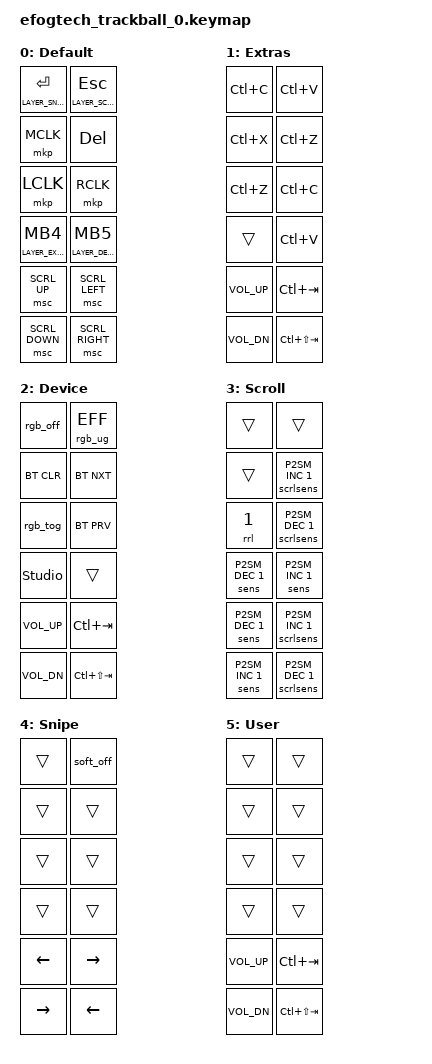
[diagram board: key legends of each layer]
#include <behaviors.dtsi>
#include <dt-bindings/zmk/bt.h>
#include <dt-bindings/zmk/keys.h>
#include <dt-bindings/zmk/pointing.h>
#include <dt-bindings/zmk/outputs.h>
#include <dt-bindings/zmk/p2sm.h>
#include <dt-bindings/zmk/rgb.h>
#include <dt-bindings/zmk/ext_power.h>

#define LAYER_DEFAULT      0
#define LAYER_EXTRAS       1
#define LAYER_DEVICE       2
#define LAYER_SCROLL       3
#define LAYER_SNIPE        4
#define LAYER_USER         5

#define TWIST_MULTIPLIER   1
#define TWIST_DIVISOR      1

#define SCROLL_MULTIPLIER  1
#define SCROLL_DIVISOR     3

#define SNIPE_MULTIPLIER   1
#define SNIPE_DIVISOR      4

/ {
	keymap {
		compatible = "zmk,keymap";

		default_layer {
			display-name = "Default";
			DECLARE_ENCODERS;
			bindings = <
				// buttons
				&ltmkp LAYER_SNIPE ENTER  &ltmkp LAYER_SCROLL ESC
				&mkp MCLK                 &kp DELETE
				&mkp LCLK                 &mkp RCLK
				&ltm LAYER_EXTRAS MB4     &ltm LAYER_DEVICE MB5

				// rotary encoders
				&msc SCRL_UP              &msc SCRL_LEFT
				&msc SCRL_DOWN            &msc SCRL_RIGHT
			>;
		};

		layer2 {
			display-name = "Extras";
			DECLARE_ENCODERS;
			bindings = <
				&kp LC(C)      &kp LC(V)
				&kp LC(X)      &kp LC(Z)
				&kp LC(Z)      &kp LC(C)
				&trans         &kp LC(V)

				&kp C_VOL_UP   &kp LC(TAB)
				&kp C_VOL_DN   &kp LC(LS(TAB))
			>;
		};

		layer3 {
			display-name = "Device";
			DECLARE_ENCODERS;
			bindings = <
				&rgb_off           &rgb_ug RGB_EFF
				&bt BT_CLR         &bt BT_NXT
				&rgb_tog           &bt BT_PRV
				&studio_unlock     &trans

				&kp C_VOL_UP       &kp LC(TAB)
				&kp C_VOL_DN       &kp LC(LS(TAB))
			>;
		};

		layer4 {
			display-name = "Scroll";
			DECLARE_ENCODERS;
			bindings = <
			    &trans              &trans
			    &trans              &scrlsens P2SM_INC 1
			    &rrl 1              &scrlsens P2SM_DEC 1
			    &sens P2SM_DEC 1    &sens P2SM_INC 1

				&sens P2SM_DEC 1    &scrlsens P2SM_INC 1
				&sens P2SM_INC 1    &scrlsens P2SM_DEC 1
			>;
		};

		layer5 {
			display-name = "Snipe";
			DECLARE_ENCODERS;
			bindings = <
				&trans           &soft_off
				&trans           &trans
				&trans           &trans
				&trans           &trans

				&kp LEFT         &kp RIGHT
				&kp RIGHT        &kp LEFT
			>;
		};

		layer6 {
			display-name = "User";
			DECLARE_ENCODERS;
			bindings = <
				&trans        &trans
				&trans        &trans
				&trans        &trans
				&trans        &trans

				&kp C_VOL_UP  &kp LC(TAB)
				&kp C_VOL_DN  &kp LC(LS(TAB))
		    >;
		};
	};

	trackball {
		input-processors = <&zip_scroll_scaler TWIST_MULTIPLIER TWIST_DIVISOR>,
						   <&zip_pointer_accel>, <&zip_scroll_accel>,
						   <&zip_rotate_pointer>, <&zip_rotate_scroll>,
		                   <&zip_ble_report_rate_limit>;

		scroll {
			layers = <LAYER_SCROLL>;
			input-processors = <&zip_xy_scaler SCROLL_MULTIPLIER SCROLL_DIVISOR>, <&zip_axis_clamper>,
							   <&zip_xy_to_scroll_mapper>, <&zip_scroll_transform INPUT_TRANSFORM_Y_INVERT>,
							   <&zip_scroll_accel>, <&zip_rotate_scroll>, <&zip_ble_report_rate_limit>;
		};

		snipe {
			layers = <LAYER_SNIPE>;
			input-processors = <&zip_xy_scaler SNIPE_MULTIPLIER SNIPE_DIVISOR>,
							   <&zip_rotate_pointer>, <&zip_rotate_scroll>, <&zip_ble_report_rate_limit>;
		};
	};

	behaviors {
		rrl {
			values-ms = <0 1 2 4 6 8>;
		};
	};

	macros {
		rgb_tog: rgb_tog {
			compatible = "zmk,behavior-macro";
			display-name = "Toggle RGB";
			#binding-cells = <0>;
			wait-ms = <20>;
			bindings
			= <&rgb_ug RGB_TOG>
			, <&ext_power EP_TOG>
			;
		};

		rgb_off: rgb_off {
			compatible = "zmk,behavior-macro";
			display-name = "RGB off";
			#binding-cells = <0>;
			wait-ms = <20>;
			bindings
			= <&ext_power EP_OFF>
			, <&rgb_ug RGB_OFF>
			;
		};
	};
};
